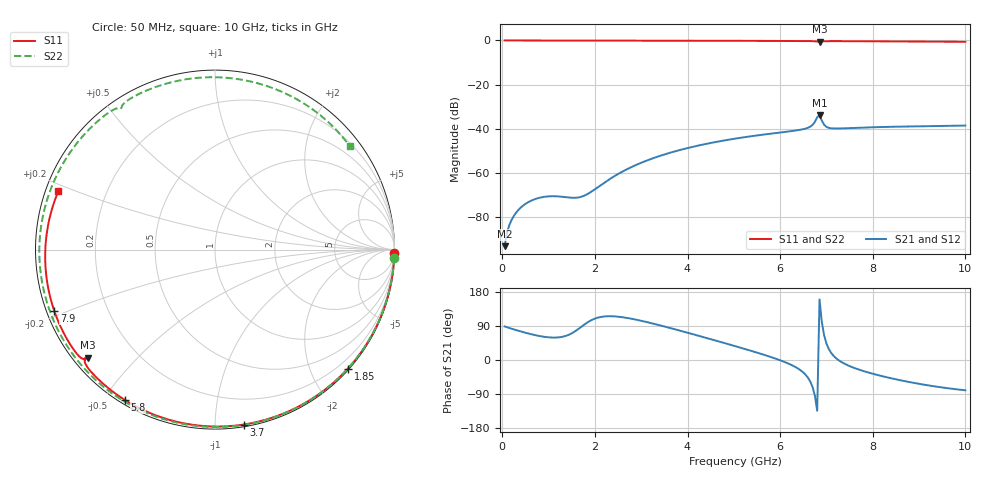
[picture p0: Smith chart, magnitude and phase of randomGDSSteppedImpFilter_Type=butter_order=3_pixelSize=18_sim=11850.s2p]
! freq	dB(S11)	phase(S11)	dB(S12)	phase(S12)
!  dB(S21)	phase(S21)	dB(S22)	phase(S22)
!S-par simulation data
#  GHz  S  DB  R 50
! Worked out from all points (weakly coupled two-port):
!   200 points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, 50 MHz to 10 GHz, reference 50 ohm
!   highest |S21| = -34.00 dB at 6.85 GHz (marker M1); lowest = -93.4 dB at 50 MHz (marker M2)
!   lowest |S11| = -0.6 dB at 6.85 GHz (marker M3), VSWR 27.94, Z = 2.03 - j18.3 ohm
!   |S11| at or under -10 dB: nowhere
!   |S22| runs from -0.5 to 0.0 dB; largest |S21 - S12| = 0
!   S11 on the Smith chart (normalised r, x): 50 MHz: 0, -99; 1.85 GHz: 0.02, -2.62; 3.7 GHz: 0.01, -1.18; 5.8 GHz: 0.02, -0.57; 7.9 GHz: 0.02, -0.18; 10 GHz: 0.04, +0.18
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0.05  -0.00 -1.2  -93.41 88.6  -93.41 88.6  -0.00 -2.7
0.25  -0.01 -5.8  -79.64 80.7  -79.64 80.7  -0.02 -13.3
0.5  -0.01 -11.5  -74.22 71.9  -74.22 71.9  -0.03 -26.4
0.8  -0.02 -18.3  -71.45 63.3  -71.45 63.3  -0.05 -41.7
1.25  -0.04 -28.5  -70.88 60.2  -70.88 60.2  -0.08 -63.4
1.75  -0.05 -39.6  -70.65 91.6  -70.65 91.6  -0.10 -85.5
1.85  -0.05 -41.8  -69.62 100.0  -69.62 100.0  -0.10 -89.6
2.6  -0.08 -58.0  -59.48 112.8  -59.48 112.8  -0.12 -118.1
3.4  -0.10 -74.6  -52.44 91.6  -52.44 91.6  -0.14 -144.3
3.7  -0.11 -80.7  -50.52 82.0  -50.52 82.0  -0.15 -153.3
4.35  -0.13 -93.5  -47.19 60.1  -47.19 60.1  -0.17 -171.7
5.05  -0.16 -106.9  -44.50 35.8  -44.50 35.8  -0.20 169.6
5.8  -0.20 -121.0  -42.31 7.9  -42.31 7.9  -0.24 150.2
6.5  -0.26 -134.0  -40.28 -32.9  -40.28 -32.9  -0.28 132.1
6.7  -0.31 -138.1  -38.34 -71.3  -38.34 -71.3  -0.31 126.7
6.85  -0.62 -139.7  -34.00 159.7  -34.00 159.7  -0.49 123.5
6.95  -0.36 -140.9  -38.31 64.8  -38.31 64.8  -0.34 121.3
7.05  -0.32 -143.1  -39.69 29.1  -39.69 29.1  -0.31 118.4
7.9  -0.37 -159.1  -39.48 -32.9  -39.48 -32.9  -0.34 95.6
8.35  -0.41 -167.6  -39.22 -46.9  -39.22 -46.9  -0.37 83.4
9.15  -0.51 177.0  -38.94 -66.0  -38.94 -66.0  -0.41 61.2
10  -0.61 159.6  -38.62 -80.0  -38.62 -80.0  -0.47 37.5
